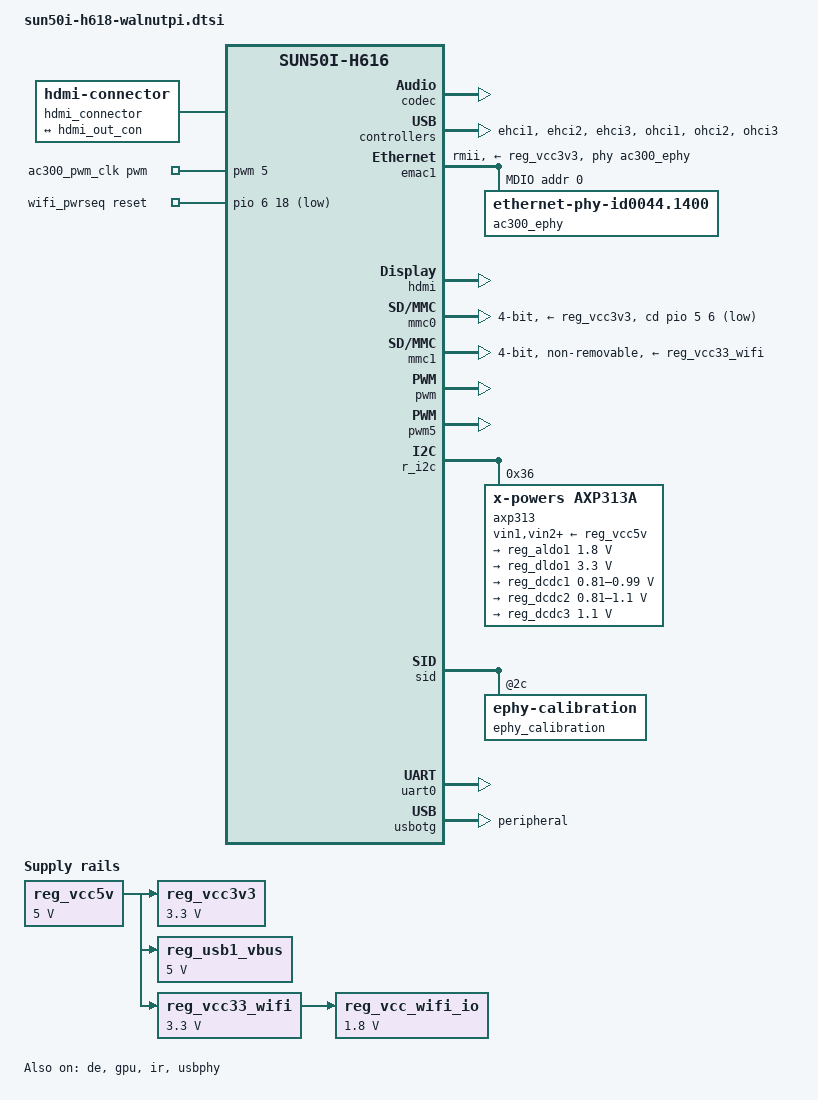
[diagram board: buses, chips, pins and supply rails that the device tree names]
// SPDX-License-Identifier: (GPL-2.0+ OR MIT)
/*
 * Walnut Pi 1 family common core (WalnutPi 1B / ZeroW / CM1 / Box):
 * Allwinner H618, LPDDR4, AXP313a PMIC, microSD (mmc0), UNISOC UWE5622
 * Wi-Fi/BT on SDIO (mmc1), eMMC pads on mmc2 (populated on CM1 only),
 * HDMI, 100 Mbit Ethernet via the co-packaged AC300-class EPHY on
 * emac1/RMII (EPHY calibration from the SID eFuse at 0x2c; on ZeroW the
 * port is on the FPC expansion), analog codec and IR (FPC on ZeroW).
 * Wiring derived from the vendor sun50i-h616-walnutpi-1b(-emmc).dts
 * (walnutpi/linux, branch 6.1.31), which serves the whole family.
 */

#include "sun50i-h616.dtsi"
#include "sun50i-h616-cpu-opp.dtsi"

#include <dt-bindings/gpio/gpio.h>
#include <dt-bindings/interrupt-controller/arm-gic.h>
#include <dt-bindings/leds/common.h>

/ {
	aliases {
		ethernet1 = &emac1;
		mmc0 = &mmc0;
		mmc1 = &mmc1;
		serial0 = &uart0;
	};

	chosen {
		stdout-path = "serial0:115200n8";
	};

	hdmi_connector: connector {
		compatible = "hdmi-connector";
		type = "d";

		port {
			hdmi_con_in: endpoint {
				remote-endpoint = <&hdmi_out_con>;
			};
		};
	};

	ac300_pwm_clk: ac300-clk {
		compatible = "pwm-clock";
		#clock-cells = <0>;
		/* 500ns period -> 2MHz; PWM5 bypass outputs 24MHz to the EPHY */
		pwms = <&pwm 5 500 0>;
		clock-frequency = <2000000>;
		status = "okay";
	};

	reg_vcc5v: vcc5v {
		/* board wide 5V supply from the USB-C power input */
		compatible = "regulator-fixed";
		regulator-name = "vcc-5v";
		regulator-min-microvolt = <5000000>;
		regulator-max-microvolt = <5000000>;
		regulator-always-on;
	};

	reg_vcc3v3: vcc3v3 {
		/* discrete DC/DC converter */
		compatible = "regulator-fixed";
		regulator-name = "vcc-3v3";
		regulator-min-microvolt = <3300000>;
		regulator-max-microvolt = <3300000>;
		vin-supply = <&reg_vcc5v>;
		regulator-always-on;
	};

	reg_usb1_vbus: regulator-usb1-vbus {
		compatible = "regulator-fixed";
		regulator-name = "usb1-vbus";
		regulator-min-microvolt = <5000000>;
		regulator-max-microvolt = <5000000>;
		regulator-always-on;
		vin-supply = <&reg_vcc5v>;
	};

	reg_vcc33_wifi: vcc33-wifi {
		/* Always on 3.3V regulator for WiFi and BT */
		compatible = "regulator-fixed";
		regulator-name = "vcc33-wifi";
		regulator-min-microvolt = <3300000>;
		regulator-max-microvolt = <3300000>;
		regulator-always-on;
		vin-supply = <&reg_vcc5v>;
	};

	reg_vcc_wifi_io: vcc-wifi-io {
		/* Always on 1.8V/300mA regulator for WiFi and BT IO */
		compatible = "regulator-fixed";
		regulator-name = "vcc-wifi-io";
		regulator-min-microvolt = <1800000>;
		regulator-max-microvolt = <1800000>;
		regulator-always-on;
		vin-supply = <&reg_vcc33_wifi>;
	};

	wifi_pwrseq: wifi-pwrseq {
		compatible = "mmc-pwrseq-simple";
		pinctrl-names = "default";
		pinctrl-0 = <&x32clk_fanout_pin>;
		clocks = <&rtc 1>;
		clock-names = "ext_clock";
		reset-gpios = <&pio 6 18 GPIO_ACTIVE_LOW>;  /* PG18 */
		post-power-on-delay-ms = <200>;
	};
};

&codec {
	allwinner,audio-routing = "Line Out", "LINEOUT";
	status = "okay";
};

&cpu0 {
	cpu-supply = <&reg_dcdc2>;
};

&de {
	status = "okay";
};

&ehci1 {
	status = "okay";
};

&ehci2 {
	status = "okay";
};

&ehci3 {
	status = "okay";
};

&emac1 {
	compatible = "allwinner,sun50i-h616-internal-emac";
	pinctrl-names = "default";
	pinctrl-0 = <&rmii_pins>;
	phy-mode = "rmii";
	phy-handle = <&ac300_ephy>;
	phy-supply = <&reg_vcc3v3>;
	allwinner,rx-delay-ps = <3100>;
	allwinner,tx-delay-ps = <700>;
	status = "okay";

	mdio-mux {
		compatible = "allwinner,sun8i-h3-mdio-mux";
		#address-cells = <1>;
		#size-cells = <0>;
		mdio-parent-bus = <&mdio1>;

		internal_mdio: mdio@1 {
			compatible = "allwinner,sun8i-h3-mdio-internal";
			reg = <1>;
			#address-cells = <1>;
			#size-cells = <0>;

			ac300_ephy: ethernet-phy@0 {
				compatible = "ethernet-phy-id0044.1400", "allwinner,sun50i-h618-ac300-ephy", "ethernet-phy-ieee802.3-c22";
				reg = <0>;
				clocks = <&ccu CLK_EMAC_25M>, <&ac300_pwm_clk>;
				clock-names = "ephy", "pwm";
				nvmem-cells = <&ephy_calibration>;
				nvmem-cell-names = "calibration";
				status = "okay";
			};
		};
	};
};

&gpu {
	mali-supply = <&reg_dcdc1>;
	status = "okay";
};

&hdmi {
	status = "okay";
};

&hdmi_out {
	hdmi_out_con: endpoint {
		remote-endpoint = <&hdmi_con_in>;
	};
};

&ir {
	pinctrl-names = "default";
	pinctrl-0 = <&ir_rx_pin>;
	status = "okay";
};

&mdio1 {
	compatible = "snps,dwmac-mdio";
};

/* microSD */
&mmc0 {
	vmmc-supply = <&reg_vcc3v3>;
	cd-gpios = <&pio 5 6 GPIO_ACTIVE_LOW>;	/* PF6 */
	bus-width = <4>;
	status = "okay";
};

/* SDIO Wi-Fi (UNISOC UWE5622) */
&mmc1 {
	vmmc-supply = <&reg_vcc33_wifi>;
	vqmmc-supply = <&reg_vcc_wifi_io>;
	mmc-pwrseq = <&wifi_pwrseq>;
	bus-width = <4>;
	non-removable;
	mmc-ddr-1_8v;
	status = "okay";
};

/* eMMC pads; only populated on the CM1 module */
&mmc2 {
	vmmc-supply = <&reg_vcc3v3>;
	no-1-8-v;
	bus-width = <8>;
	non-removable;
	status = "disabled";
};

&ohci1 {
	status = "okay";
};

&ohci2 {
	status = "okay";
};

&ohci3 {
	status = "okay";
};

&pio {
	vcc-pc-supply = <&reg_dldo1>;
	vcc-pf-supply = <&reg_dldo1>;
	vcc-pg-supply = <&reg_aldo1>;
	vcc-ph-supply = <&reg_dldo1>;
	vcc-pi-supply = <&reg_dldo1>;
};

&pwm {
	status = "okay";
};

&pwm5 {
	pinctrl-names = "default";
	pinctrl-0 = <&pwm5_pin>;
	clk_bypass_output = <0x1>;
	status = "okay";
};

&r_i2c {
	status = "okay";

	axp313: pmic@36 {
		compatible = "x-powers,axp313a";
		reg = <0x36>;

		vin1-supply = <&reg_vcc5v>;
		vin2-supply = <&reg_vcc5v>;
		vin3-supply = <&reg_vcc5v>;

		regulators {
			/* Supplies VCC-PLL and DRAM */
			reg_aldo1: aldo1 {
				regulator-always-on;
				regulator-min-microvolt = <1800000>;
				regulator-max-microvolt = <1800000>;
				regulator-name = "vcc1v8";
			};

			/* Supplies VCC-IO, so needs to be always on. */
			reg_dldo1: dldo1 {
				regulator-always-on;
				regulator-min-microvolt = <3300000>;
				regulator-max-microvolt = <3300000>;
				regulator-name = "vcc3v3-io";
			};

			reg_dcdc1: dcdc1 {
				regulator-always-on;
				regulator-min-microvolt = <810000>;
				regulator-max-microvolt = <990000>;
				regulator-name = "vdd-gpu-sys";
			};

			reg_dcdc2: dcdc2 {
				regulator-always-on;
				regulator-min-microvolt = <810000>;
				regulator-max-microvolt = <1100000>;
				regulator-name = "vdd-cpu";
			};

			reg_dcdc3: dcdc3 {
				regulator-always-on;
				regulator-min-microvolt = <1100000>;
				regulator-max-microvolt = <1100000>;
				regulator-name = "vdd-dram";
			};
		};
	};
};

&sid {
	ephy_calibration: ephy-calibration@2c {
		reg = <0x2c 0x2>;
	};
};

/* SPI flash pads; unpopulated by default */
&spi0 {
	status = "disabled";

	flash@0 {
		#address-cells = <1>;
		#size-cells = <1>;
		compatible = "jedec,spi-nor";
		reg = <0>;
		spi-max-frequency = <40000000>;
	};
};

&uart0 {
	pinctrl-names = "default";
	pinctrl-0 = <&uart0_ph_pins>;
	status = "okay";
};

&usbotg {
	/* USB-C powers the board; both CC pins are strapped, no role switch */
	dr_mode = "peripheral";
	status = "okay";
};

&usbphy {
	usb1_vbus-supply = <&reg_usb1_vbus>;
	status = "okay";
};
